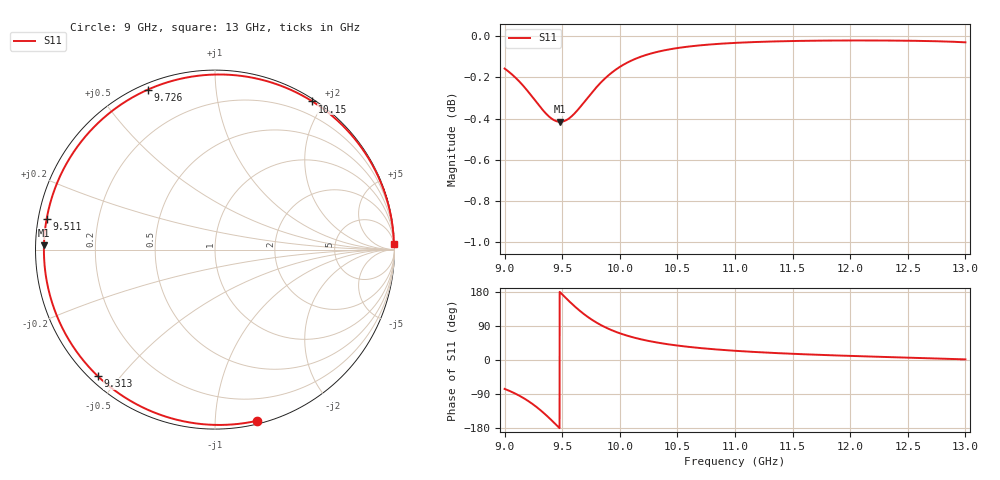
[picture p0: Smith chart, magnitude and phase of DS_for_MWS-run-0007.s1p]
! TOUCHSTONE file generated by CST DESIGN STUDIO
! Date and time: Tue Feb  4 17:03:21 2025
! Project name: C:\Work\MatlabApps\UnitCellOptimizationMatlab\CST\unitcell.cst
! Tree item: Tasks\Sweep1\SPara1\S-Parameters
! Header version: 2024
! Port assignment regex: !\s*Touchstone port\s*([0-9]+)\s*=\s*(CST MWS port|CST DES external port|CST DES block port)\s*(.+)\s* \(\"(.*)\"\)(\s*mode\s*([0-9]+))?.*
! Touchstone port assignment:
! Touchstone port 1 = CST DES external port 1 ("")
# GHz S MA R 50
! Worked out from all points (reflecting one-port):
!   4001 points, 9 GHz to 13 GHz, reference 50 ohm
!   lowest |S11| = -0.4 dB at 9.482 GHz (marker M1), VSWR 41.80, Z = 1.2 + j0.62 ohm
!   phase of S11 starts at -76 deg and turns -282 deg over the sweep
!   S11 on the Smith chart (normalised r, x): 9 GHz: 0.02, -1.27; 9.313 GHz: 0.02, -0.44; 9.511 GHz: 0.02, +0.09; 9.726 GHz: 0.02, +0.66; 10.15 GHz: 0.03, +1.85; 13 GHz: 8, +69
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9  0.9821 -76.3
9.081  0.9779 -86.9
9.179  0.9714 -103.2
9.249  0.966 -117.5
9.313  0.9609 -132.9
9.358  0.9577 -144.8
9.405  0.9551 -158.3
9.444  0.9537 -169.9
9.482  0.9533 178.6
9.5  0.9534 173.1
9.511  0.9535 169.8
9.563  0.9553 154.3
9.622  0.9587 137.9
9.673  0.9625 124.9
9.726  0.9666 112.8
9.78  0.9707 102.0
9.841  0.9748 91.4
9.919  0.9793 80.1
10  0.983 70.5
10.155  0.988 56.7
10.311  0.9911 46.8
10.5  0.9934 38.1
10.722  0.9951 30.9
11  0.9963 24.3
11.5  0.9974 16.4
12  0.9977 10.8
12.5  0.9975 6.2
13  0.9966 1.6
